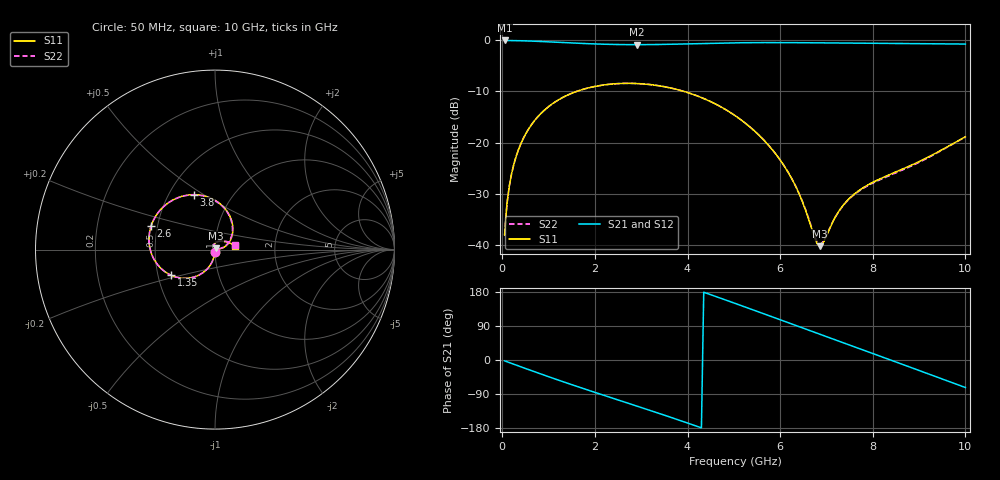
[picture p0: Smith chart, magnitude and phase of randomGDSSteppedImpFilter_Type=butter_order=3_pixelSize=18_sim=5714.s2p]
! freq	dB(S11)	phase(S11)	dB(S12)	phase(S12)
!  dB(S21)	phase(S21)	dB(S22)	phase(S22)
!S-par simulation data
#  GHz  S  DB  R 50
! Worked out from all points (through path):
!   200 points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, 50 MHz to 10 GHz, reference 50 ohm
!   highest |S21| = 0.00 dB at 50 MHz (marker M1); lowest = -0.8 dB at 2.9 GHz (marker M2)
!   group delay of S21, straight-line fit = 120 ps
!   lowest |S11| = -40.3 dB at 6.85 GHz (marker M3), VSWR 1.02, Z = 50.5 + j0.839 ohm
!   |S11| at or under -10 dB: start of sweep to 1.601 GHz; 3.928 GHz to end of sweep
!   |S22| runs from -39.9 to -8.4 dB; largest |S21 - S12| = 0
!   S11 on the Smith chart (normalised r, x): 50 MHz: 1.00, -0.02; 1.35 GHz: 0.59, -0.18; 2.6 GHz: 0.46, +0.14; 3.8 GHz: 0.66, +0.46; 10 GHz: 1.25, +0.05
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0.05  -38.12 -92.0  -0.00 -2.3  -0.00 -2.3  -38.12 -92.0
0.1  -32.08 -94.6  -0.01 -4.5  -0.01 -4.5  -32.07 -94.6
0.15  -28.59 -97.2  -0.02 -6.8  -0.02 -6.8  -28.59 -97.2
0.4  -20.26 -108.3  -0.06 -17.9  -0.06 -17.9  -20.26 -108.3
0.8  -14.63 -126.0  -0.19 -35.5  -0.19 -35.5  -14.63 -125.9
1.35  -10.97 -149.6  -0.43 -58.9  -0.43 -58.9  -10.96 -149.5
1.75  -9.56 -166.2  -0.60 -75.4  -0.60 -75.4  -9.56 -166.0
2.6  -8.42 159.7  -0.81 -109.4  -0.81 -109.4  -8.42 160.0
2.9  -8.44 147.8  -0.83 -121.4  -0.83 -121.4  -8.44 148.1
3.4  -8.91 127.6  -0.79 -141.5  -0.79 -141.5  -8.90 128.0
3.8  -9.67 111.2  -0.72 -158.0  -0.72 -158.0  -9.67 111.7
4.45  -11.78 83.9  -0.57 174.5  -0.57 174.5  -11.78 84.6
5.05  -14.87 58.3  -0.47 148.4  -0.47 148.4  -14.87 59.3
5.6  -19.08 35.2  -0.42 124.1  -0.42 124.1  -19.07 36.6
6.05  -24.08 18.3  -0.42 104.0  -0.42 104.0  -24.06 20.2
6.4  -29.86 10.5  -0.44 88.5  -0.44 88.5  -29.79 13.1
6.7  -37.46 24.9  -0.46 75.1  -0.46 75.1  -37.17 28.0
6.85  -40.30 59.4  -0.47 68.4  -0.47 68.4  -39.89 60.7
7.45  -31.35 101.8  -0.52 41.7  -0.52 41.7  -31.45 103.9
8.35  -26.34 68.5  -0.58 1.5  -0.58 1.5  -26.52 72.4
9.1  -23.29 40.7  -0.63 -32.1  -0.63 -32.1  -23.44 45.0
10  -18.88 10.1  -0.71 -72.6  -0.71 -72.6  -18.92 13.4
